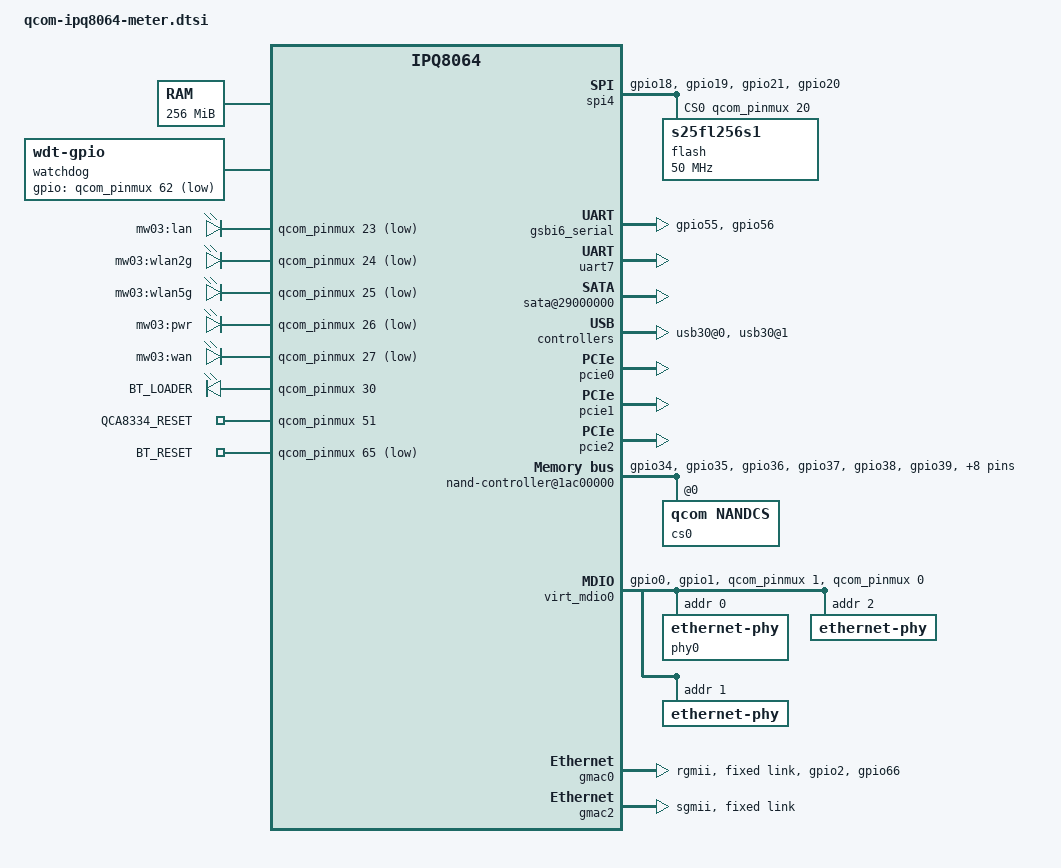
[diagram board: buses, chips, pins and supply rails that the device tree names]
#include "qcom-ipq8064.dtsi"

/ {
	aliases {
		serial0 = &uart7;
		serial1 = &gsbi6_serial;
		mdio-gpio0 = &virt_mdio0;
		ethernet0 = &gmac0;
		ethernet1 = &gmac2;
	};

	chosen {
		bootargs-override = "ubi.mtd=rootfs root=/dev/ubiblock0_1 earlyprintk console=ttyMSM0,115200n8";
		stdout-path = "serial0:115200n8";
	};


	memory@0 {
		reg = <0x40000000 0x10000000>;
		device_type = "memory";
	};

	reserved-memory {
		#address-cells = <1>;
		#size-cells = <1>;
		ranges;
		rsvd@41200000 {
			reg = <0x41200000 0x300000>;
			no-map;
		};
	};

	watchdog: watchdog {
		/* PIC10F202 */
		compatible = "linux,wdt-gpio";
		gpios = <&qcom_pinmux 62 GPIO_ACTIVE_LOW>;
		hw_algo = "toggle";
		hw_margin_ms = <65535>;
	};

	soc {
		pinmux@800000 {
			i2c4_pins: i2c4_pinmux {
				pins = "gpio12", "gpio13";
				function = "gsbi4";
				bias-disable;
			};

			spi_pins: spi_pins {
				mux {
					pins = "gpio18", "gpio19", "gpio21";
					function = "gsbi5";
					drive-strength = <10>;
					bias-none;
				};
				cs {
					pins = "gpio20";
					drive-strength = <12>;
				};
			};
			nand_pins: nand_pins {
				mux {
					pins = "gpio34", "gpio35", "gpio36",
					       "gpio37", "gpio38", "gpio39",
					       "gpio40", "gpio41", "gpio42",
					       "gpio43", "gpio44", "gpio45",
					       "gpio46", "gpio47";
					function = "nand";
					drive-strength = <10>;
					bias-disable;
				};
				pullups {
					pins = "gpio39";
					bias-pull-up;
				};
				hold {
					pins = "gpio40", "gpio41", "gpio42",
					       "gpio43", "gpio44", "gpio45",
					       "gpio46", "gpio47";
					bias-bus-hold;
				};
			};

			mdio0_pins: mdio0_pins {
				mux {
					pins = "gpio0", "gpio1";
					function = "gpio";
					drive-strength = <8>;
					bias-disable;
				};
			};

			rgmii2_pins: rgmii2_pins {
				mux {
					// gpio2 and gpio66 affect the rgmii pin strengths
					// see the note after `Table 3-1 GPIO function configuration`
					// in the IPQ806X Programming Reference Manual.
					// While the WAN port works better in this configuration,
					// it should be noted that gpio66 is connected to QFPROM_EN
					// per the ODM's gpio map.
					pins = "gpio2", "gpio66";
					function = "rgmii2";
					drive-strength = <8>;
					bias-disable;
				};
			};
			gsbi6_uart_2pins: gsbi6_uart_2pins {
				mux {
					pins = "gpio55", "gpio56";
					function = "gsbi6";
					drive-strength = <12>;
					bias-disable;
				};
			};
			leds_pins: leds_pins {
				mux {
					pins = "gpio22", "gpio23", "gpio24",
							"gpio25", "gpio26", "gpio27",
							"gpio30", "gpio51", "gpio65";
					function = "gpio";
					drive-strength = <2>;
					bias-pull-up;
					output-high;
				};
			};
		};

		gsbi5: gsbi@1a200000 {
			qcom,mode = <GSBI_PROT_SPI>;
			status = "ok";

			spi4: spi@1a280000 {
				status = "ok";
				spi-max-frequency = <50000000>;

				pinctrl-0 = <&spi_pins>;
				pinctrl-names = "default";

				cs-gpios = <&qcom_pinmux 20 0>;

				flash: m25p80@0 {
					compatible = "s25fl256s1", "fixed-partitions";
					#address-cells = <1>;
					#size-cells = <1>;
					spi-max-frequency = <50000000>;
					reg = <0>;
				};
			};
		};


               gsbi6: gsbi@16500000 {
			qcom,mode = <GSBI_PROT_I2C_UART>;
			status = "ok";

                        syscon-tcsr = <&tcsr>;

                        gsbi6_serial: serial@16540000 {
                                compatible = "qcom,msm-uartdm-v1.3", "qcom,msm-uartdm";
                                reg = <0x16540000 0x1000>,
                                      <0x16500000 0x1000>;
                                interrupts = <GIC_SPI 156 IRQ_TYPE_LEVEL_HIGH>;
                                clocks = <&gcc GSBI6_UART_CLK>, <&gcc GSBI6_H_CLK>;
                                clock-names = "core", "iface";
				pinctrl-0 = <&gsbi6_uart_2pins>;
				pinctrl-names = "default";
                                status = "ok";
                        };
		};

		gsbi7: gsbi@16600000 {
			qcom,mode = <GSBI_PROT_I2C_UART>;
			status = "ok";
			uart7: serial@16640000 {
				status = "ok";
			};
		};

		sata-phy@1b400000 {
			status = "ok";
		};

		sata@29000000 {
			status = "ok";
		};

		phy@100f8800 {		/* USB3 port 1 HS phy */
			status = "ok";
		};

		phy@100f8830 {		/* USB3 port 1 SS phy */
			status = "ok";
		};

		phy@110f8800 {		/* USB3 port 0 HS phy */
			status = "ok";
		};

		phy@110f8830 {		/* USB3 port 0 SS phy */
			status = "ok";
		};

		usb30@0 {
			status = "ok";
		};

		usb30@1 {
			status = "ok";
		};

		leds {
			compatible = "gpio-leds";
			pinctrl-0 = <&leds_pins>;
			pinctrl-names = "default";

			led@23 {
				label = "mw03:lan";
				gpios = <&qcom_pinmux 23 GPIO_ACTIVE_LOW>;
				default-state = "off";
			};
			led@24 {
				label = "mw03:wlan2g";
				gpios = <&qcom_pinmux 24 GPIO_ACTIVE_LOW>;
				default-state = "off";
			};
			led@25 {
				label = "mw03:wlan5g";
				gpios = <&qcom_pinmux 25 GPIO_ACTIVE_LOW>;
				default-state = "off";
			};
			led@26 {
				label = "mw03:pwr";
				gpios = <&qcom_pinmux 26 GPIO_ACTIVE_LOW>;
				default-state = "on";
			};
			led@27 {
				label = "mw03:wan";
				gpios = <&qcom_pinmux 27 GPIO_ACTIVE_LOW>;
				default-state = "off";
			};
			led@30 {
				label = "BT_LOADER";
				gpios = <&qcom_pinmux 30 GPIO_ACTIVE_HIGH>;
				default-state = "off";
			};
			led@51 {
				label = "QCA8334_RESET";
				gpios = <&qcom_pinmux 51 GPIO_ACTIVE_HIGH>;
				default-state = "off";
			};
			led@65 {
				label = "BT_RESET";
				gpios = <&qcom_pinmux 65 GPIO_ACTIVE_LOW>;
				default-state = "off";
			};
		};

		pcie0: pci@1b500000 {
			status = "ok";
			pcie@0 {
				reg = <0 0 0 0 0>;
				#interrupt-cells = <1>;
				#size-cells = <2>;
				#address-cells = <3>;
				device_type = "pci";

				ath10k@0,0 {
					reg = <0 0 0 0 0>;
					device_type = "pci";
					qcom,mtd-name = "0:ART";
					qcom,cal-offset = <0x1000>;
					qcom,cal-len = <12064>;
				};
			};
		};

		pcie1: pci@1b700000 {
			status = "ok";
			force_gen1 = <1>;
				ath10k@0,0 {
					reg = <0 0 0 0 0>;
					device_type = "pci";
					qcom,mtd-name = "0:ART";
					qcom,cal-offset = <0x5000>;
					qcom,cal-len = <12064>;
				};
		};

		pcie2: pci@1b900000 {
			status = "ok";
				ath10k@0,0 {
					reg = <0 0 0 0 0>;
					device_type = "pci";
					qcom,mtd-name = "0:ART";
					qcom,cal-offset = <0x9000>;
					qcom,cal-len = <2116>;
				};
		};

		nand-controller@1ac00000 {
			status = "ok";

			pinctrl-0 = <&nand_pins>;
			pinctrl-names = "default";

			cs0 {
				reg = <0>;
				compatible = "qcom,nandcs";

				nand-ecc-strength = <4>;
				nand-bus-width = <8>;
				nand-ecc-step-size = <512>;

				partitions {
					compatible = "qcom,qcom_nand", "fixed-partitions";
					#address-cells = <1>;
					#size-cells = <1>;
				};
			};
		};

		virt_mdio0: mdio {
			compatible = "virtual,mdio-gpio";
			#address-cells = <1>;
			#size-cells = <0>;
			gpios = <&qcom_pinmux 1 0 &qcom_pinmux 0 0>;
			pinctrl-0 = <&mdio0_pins>;
			pinctrl-names = "default";

			phy0: ethernet-phy@0 {
				reg = <0>;
				qca,ar8327-initvals = <
					0x00004 0x7600000   /* PAD0_MODE */
					0x00008 0x1000000   /* PAD5_MODE */
					0x0000c 0x20080     /* PAD6_MODE */
					0x000e4 0x6a545     /* MAC_POWER_SEL */
					0x000e0 0xc74164de  /* SGMII_CTRL */
					0x0007c 0x4e        /* PORT0_STATUS */
					0x00094 0x4e        /* PORT6_STATUS */
					>;
			};

			ethernet-phy@2 {
				device_type = "ethernet-phy";
				reg = <2>;
				qca,phy-rgmii-en;
				qca,txclk-delay-en;
				qca,rxclk-delay-en;
			};

			ethernet-phy@1 {
				device_type = "ethernet-phy";
				reg = <1>;
			};
		};

		gmac0: ethernet@37000000 {
			status = "ok";
			phy-mode = "rgmii";
			qcom,id = <0>;

			pinctrl-0 = <&rgmii2_pins>;
			pinctrl-names = "default";
			mdiobus = <&virt_mdio0>;

			fixed-link {
				speed = <1000>;
				full-duplex;
			};
		};

		gmac2: ethernet@37400000 {
			status = "ok";
			phy-mode = "sgmii";
			qcom,id = <2>;
			mdiobus = <&virt_mdio0>;

			fixed-link {
				speed = <1000>;
				full-duplex;
			};
		};

		timer@200a000 {
			status = "okay";
		};
	};
};

&gsbi4 {
    status = "disabled";
};

&adm_dma {
	status = "ok";
};
